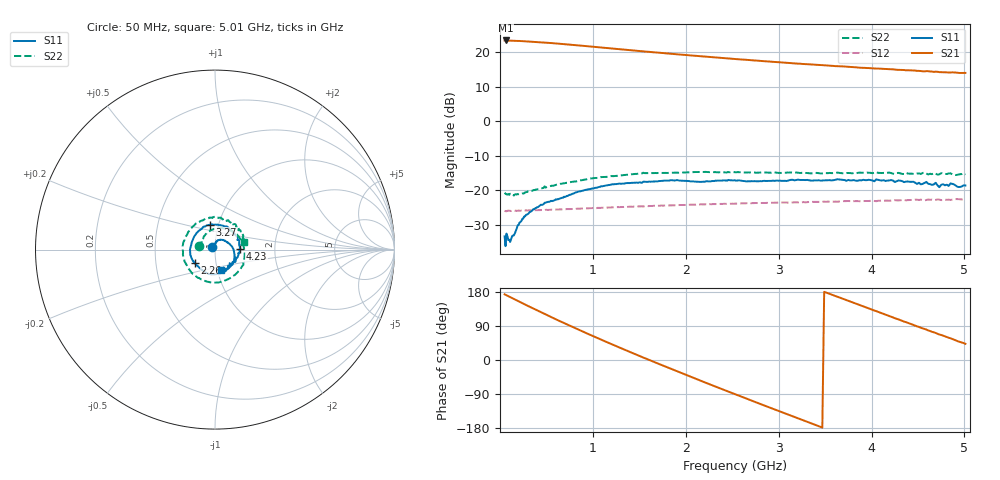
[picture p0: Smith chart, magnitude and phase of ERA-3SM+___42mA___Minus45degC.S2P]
! Mini-Circuits
! S2P DATA File Format
! Type: MMIC Amplifier
! Model: ERA-3SM  Reference Data: RDF-1128B
! Note: All S Parameters are in dB deg format
! TEST CONDITIONS: INPUT POWER = -25dBm, Icc = 42mA, Vd = 3.45V @Temperature = -45degC
! 401 Frequency points
# MHz S DB R 50
!  FREQ  dB(S11)  PHS(S11)  dB(S21)  PHS(S21)  dB(S12)  PHS(S12)  dB(S22)  PHS(S22)
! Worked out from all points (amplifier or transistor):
!   401 points, 50 MHz to 5.01 GHz, reference 50 ohm
!   highest |S21| = 23.3 dB at 60 MHz (marker M1)
!   |S21| within 3 dB of that: start of sweep to 1.485 GHz
!   unconditionally stable (mu >= 1): start of sweep to end of sweep
!   at 710 MHz: K = 1.05, MAG = 22.5 dB, |S12| = -25.4 dB
!   at 2.05 GHz: K = 1.11, MAG = 19.5 dB, |S12| = -24.1 dB
!   at 5.01 GHz: K = 1.48, MAG = 14.1 dB, |S12| = -22.5 dB
!   S11 on the Smith chart (normalised r, x): 50 MHz: 0.97, +0.03; 2.26 GHz: 0.79, -0.12; 3.27 GHz: 0.91, +0.26; 4.23 GHz: 1.32, +0.00; 5.01 GHz: 1.04, -0.24
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50  -33.29 141.9  23.32 173.3  -25.90 -2.6  -20.71 168.2
60  -36.13 149.2  23.32 172.1  -26.02 -3.2  -20.96 166.1
250  -28.16 84.7  23.10 148.9  -25.81 -14.9  -20.90 136.5
370  -25.44 73.1  22.92 134.5  -25.75 -21.6  -19.91 119.4
480  -23.59 62.5  22.75 121.4  -25.74 -27.9  -18.84 102.6
670  -22.13 33.2  22.31 99.7  -25.50 -39.6  -18.02 73.0
880  -20.16 7.3  21.81 76.3  -25.25 -52.7  -17.08 45.6
1090  -18.79 -17.1  21.28 53.5  -25.03 -66.3  -16.16 20.6
1290  -18.02 -38.3  20.80 32.6  -24.83 -79.7  -15.71 -1.8
1510  -17.69 -62.0  20.26 9.9  -24.63 -94.4  -15.14 -25.2
1710  -17.32 -84.1  19.78 -10.3  -24.45 -108.0  -14.96 -46.2
2000  -17.26 -113.9  19.12 -38.9  -24.18 -127.7  -14.83 -74.6
2260  -17.43 -145.7  18.55 -64.3  -24.00 -145.9  -14.73 -101.5
2530  -17.13 -175.0  17.95 -90.1  -23.82 -164.4  -14.73 -129.3
2910  -17.27 140.8  17.20 -126.1  -23.59 168.3  -14.88 -166.0
3270  -17.00 102.4  16.52 -159.5  -23.39 143.4  -14.94 159.4
3370  -17.17 90.7  16.35 -168.8  -23.32 136.3  -15.04 150.2
3730  -17.26 52.3  15.74 157.7  -23.11 109.8  -14.97 119.2
4190  -17.14 6.0  15.00 116.3  -22.97 77.5  -14.87 79.6
4230  -17.16 0.5  14.99 112.5  -22.84 75.2  -15.17 76.0
4610  -18.10 -34.6  14.44 78.0  -22.64 47.3  -15.40 46.8
5010  -18.59 -74.8  13.95 42.7  -22.50 19.4  -15.46 13.6
